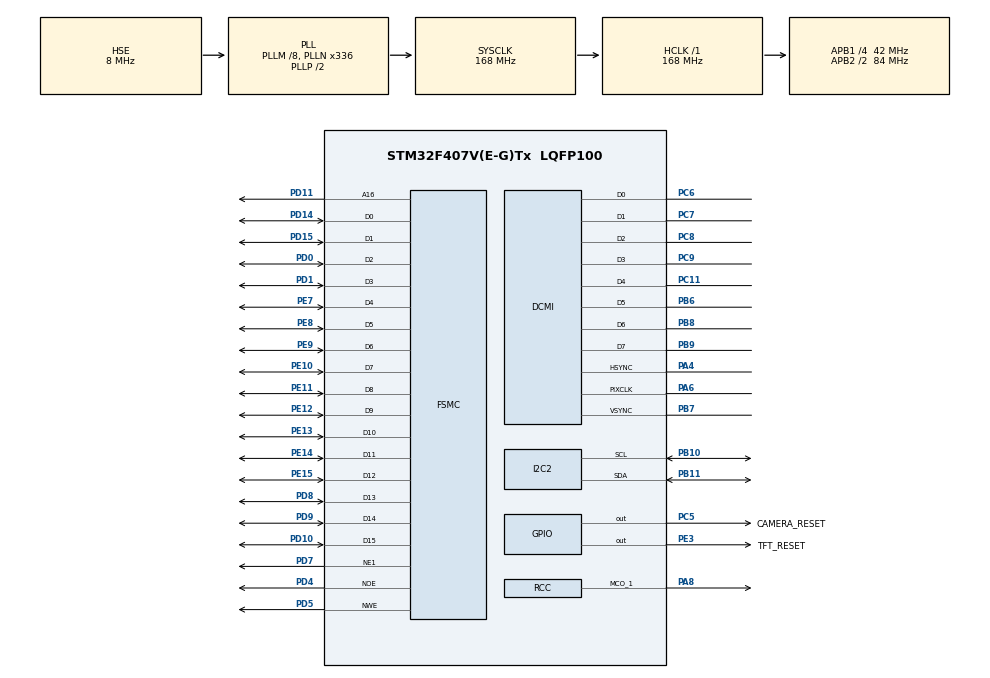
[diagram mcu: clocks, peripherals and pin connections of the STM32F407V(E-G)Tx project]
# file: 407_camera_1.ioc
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DCMI.PCKPolarity=DCMI_PCKPOLARITY_RISING
DCMI.VSPolarity=DCMI_VSPOLARITY_HIGH
Dma.DCMI.0.Direction=DMA_PERIPH_TO_MEMORY
Dma.DCMI.0.FIFOMode=DMA_FIFOMODE_DISABLE
Dma.DCMI.0.Instance=DMA2_Stream1
Dma.DCMI.0.MemDataAlignment=DMA_MDATAALIGN_WORD
Dma.DCMI.0.MemInc=DMA_MINC_DISABLE
Dma.DCMI.0.Mode=DMA_NORMAL
Dma.DCMI.0.PeriphDataAlignment=DMA_PDATAALIGN_WORD
Dma.DCMI.0.PeriphInc=DMA_PINC_DISABLE
Dma.DCMI.0.Priority=DMA_PRIORITY_LOW
Dma.Request0=DCMI
FSMC.AddressSetupTime1=4
FSMC.BusTurnAroundDuration1=1
FSMC.DataSetupTime1=8
Mcu.Family=STM32F4
Mcu.Name=STM32F407V(E-G)Tx
Mcu.Package=LQFP100
NVIC.DCMI_IRQn=true\:0\:0\:false\:false\:true\:true\:true\:true
NVIC.DMA2_Stream1_IRQn=true\:0\:0\:false\:false\:true\:false\:true\:true
NVIC.PriorityGroup=NVIC_PRIORITYGROUP_0
PA4.GPIO_PuPd=GPIO_PULLDOWN
PA4.GPIO_Speed=GPIO_SPEED_FREQ_VERY_HIGH
PA4.Mode=Slave_8_bits_External_Synchro
PA4.Signal=DCMI_HSYNC
PA6.GPIO_PuPd=GPIO_PULLDOWN
PA6.GPIO_Speed=GPIO_SPEED_FREQ_VERY_HIGH
PA6.Mode=Slave_8_bits_External_Synchro
PA6.Signal=DCMI_PIXCLK
PA8.GPIO_Speed=GPIO_SPEED_FREQ_VERY_HIGH
PA8.Mode=Clock-out-1
PA8.Signal=RCC_MCO_1
PB10.GPIO_Pu=GPIO_PULLUP
PB10.Mode=I2C
PB10.Signal=I2C2_SCL
PB11.GPIO_Pu=GPIO_PULLUP
PB11.Mode=I2C
PB11.Signal=I2C2_SDA
PB6.GPIO_PuPd=GPIO_PULLDOWN
PB6.GPIO_Speed=GPIO_SPEED_FREQ_VERY_HIGH
PB6.Mode=Slave_8_bits_External_Synchro
PB6.Signal=DCMI_D5
PB7.GPIO_PuPd=GPIO_PULLDOWN
PB7.GPIO_Speed=GPIO_SPEED_FREQ_VERY_HIGH
PB7.Mode=Slave_8_bits_External_Synchro
PB7.Signal=DCMI_VSYNC
PB8.GPIO_PuPd=GPIO_PULLDOWN
PB8.GPIO_Speed=GPIO_SPEED_FREQ_VERY_HIGH
PB8.Mode=Slave_8_bits_External_Synchro
PB8.Signal=DCMI_D6
PB9.GPIO_PuPd=GPIO_PULLDOWN
PB9.GPIO_Speed=GPIO_SPEED_FREQ_VERY_HIGH
PB9.Mode=Slave_8_bits_External_Synchro
PB9.Signal=DCMI_D7
PC11.GPIO_PuPd=GPIO_PULLDOWN
PC11.GPIO_Speed=GPIO_SPEED_FREQ_VERY_HIGH
PC11.Mode=Slave_8_bits_External_Synchro
PC11.Signal=DCMI_D4
PC5.GPIO_Label=CAMERA_RESET
PC5.GPIO_PuPd=GPIO_PULLUP
PC5.Signal=GPIO_Output
PC6.GPIO_PuPd=GPIO_PULLDOWN
PC6.GPIO_Speed=GPIO_SPEED_FREQ_VERY_HIGH
PC6.Mode=Slave_8_bits_External_Synchro
PC6.Signal=DCMI_D0
PC7.GPIO_PuPd=GPIO_PULLDOWN
PC7.GPIO_Speed=GPIO_SPEED_FREQ_VERY_HIGH
PC7.Mode=Slave_8_bits_External_Synchro
PC7.Signal=DCMI_D1
PC8.GPIO_PuPd=GPIO_PULLDOWN
PC8.GPIO_Speed=GPIO_SPEED_FREQ_VERY_HIGH
PC8.Mode=Slave_8_bits_External_Synchro
PC8.Signal=DCMI_D2
PC9.GPIO_PuPd=GPIO_PULLDOWN
PC9.GPIO_Speed=GPIO_SPEED_FREQ_VERY_HIGH
PC9.Mode=Slave_8_bits_External_Synchro
PC9.Signal=DCMI_D3
PD0.Mode=16b-d1
PD0.Signal=FSMC_D2
PD1.Mode=16b-d1
PD1.Signal=FSMC_D3
PD10.Mode=16b-d1
PD10.Signal=FSMC_D15
PD11.Mode=A16_1
PD11.Signal=FSMC_A16
PD14.Mode=16b-d1
PD14.Signal=FSMC_D0
PD15.Mode=16b-d1
PD15.Signal=FSMC_D1
PD4.Mode=Lcd1
PD4.Signal=FSMC_NOE
PD5.Mode=Lcd1
PD5.Signal=FSMC_NWE
PD7.Mode=NorPsramChipSelect1_1
PD7.Signal=FSMC_NE1
PD8.Mode=16b-d1
PD8.Signal=FSMC_D13
PD9.Mode=16b-d1
PD9.Signal=FSMC_D14
PE10.Mode=16b-d1
PE10.Signal=FSMC_D7
PE11.Mode=16b-d1
PE11.Signal=FSMC_D8
PE12.Mode=16b-d1
PE12.Signal=FSMC_D9
PE13.Mode=16b-d1
PE13.Signal=FSMC_D10
PE14.Mode=16b-d1
PE14.Signal=FSMC_D11
PE15.Mode=16b-d1
PE15.Signal=FSMC_D12
PE3.GPIO_Label=TFT_RESET
PE3.PinState=GPIO_PIN_SET
PE3.Signal=GPIO_Output
PE7.Mode=16b-d1
PE7.Signal=FSMC_D4
PE8.Mode=16b-d1
PE8.Signal=FSMC_D5
PE9.Mode=16b-d1
PE9.Signal=FSMC_D6
PH0-OSC_IN.Mode=HSE-External-Oscillator
PH0-OSC_IN.Signal=RCC_OSC_IN
PH1-OSC_OUT.Mode=HSE-External-Oscillator
PH1-OSC_OUT.Signal=RCC_OSC_OUT
ProjectManager.HeapSize=0x200
ProjectManager.StackSize=0x400
ProjectManager.TargetToolchain=STM32CubeIDE
RCC.48MHZClocksFreq_Value=48000000
RCC.AHBFreq_Value=168000000
RCC.APB1CLKDivider=RCC_HCLK_DIV4
RCC.APB1Freq_Value=42000000
RCC.APB1TimFreq_Value=84000000
RCC.APB2CLKDivider=RCC_HCLK_DIV2
RCC.APB2Freq_Value=84000000
RCC.APB2TimFreq_Value=168000000
RCC.CortexFreq_Value=168000000
RCC.HCLKFreq_Value=168000000
RCC.HSE_VALUE=8000000
RCC.HSI_VALUE=16000000
RCC.LSE_VALUE=32768
RCC.PLLM=8
RCC.PLLN=336
RCC.PLLQ=7
RCC.PLLSourceVirtual=RCC_PLLSOURCE_HSE
RCC.RCC_MCO1Source=RCC_MCO1SOURCE_PLLCLK
RCC.RCC_MCODiv1=RCC_MCODIV_4
RCC.SYSCLKFreq_VALUE=168000000
RCC.SYSCLKSource=RCC_SYSCLKSOURCE_PLLCLK
RCC.VCOOutputFreq_Value=336000000
board=STM32F407G-DISC1

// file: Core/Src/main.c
/* USER CODE BEGIN Header */
/**
  ******************************************************************************
  * @file           : main.c
  * @brief          : Main program body
  ******************************************************************************
  * @attention
  *
  * Copyright (c) 2022 STMicroelectronics.
  * All rights reserved.
  *
  * This software is licensed under terms that can be found in the LICENSE file
  * in the root directory of this software component.
  * If no LICENSE file comes with this software, it is provided AS-IS.
  *
  ******************************************************************************
  */
/* USER CODE END Header */
#include "main.h"

/* USER CODE BEGIN Includes */
#include "common.h"
//#include "ssd1289.h"
#include "ILI9341_STM32_Driver.h"
#include "ov7670.h"
/* USER CODE END Includes */

DCMI_HandleTypeDef hdcmi;
DMA_HandleTypeDef hdma_dcmi;

I2C_HandleTypeDef hi2c2;

SRAM_HandleTypeDef hsram1;

void SystemClock_Config(void);
static void MX_GPIO_Init(void);
static void MX_DMA_Init(void);
static void MX_DCMI_Init(void);
static void MX_FSMC_Init(void);
static void MX_I2C2_Init(void);

int main(void)
{

  /* MCU Configuration--------------------------------------------------------*/

  /* Reset of all peripherals, Initializes the Flash interface and the Systick. */
  HAL_Init();

  /* Configure the system clock */
  SystemClock_Config();

  /* Initialize all configured peripherals */
  MX_GPIO_Init();
  MX_DMA_Init();
  MX_DCMI_Init();
  MX_FSMC_Init();
  MX_I2C2_Init();
  /* USER CODE BEGIN 2 */
  ILI9341_Init();
  //Init_SSD1289();
#if (TEST_TFT_LCD == 0)
  uint16_t* p_lcdData;
  p_lcdData = ILI9341_Get_Draw_Address();
  ov7670_init(&hdcmi, &hdcmi, &hi2c2);
  ov7670_config(OV7670_MODE_QVGA_RGB565);
  ov7670_startCap(OV7670_CAP_CONTINUOUS, p_lcdData);
#endif
  /* USER CODE END 2 */

  /* Infinite loop */
  /* USER CODE BEGIN WHILE */
#if (TEST_TFT_LCD == 1)
  uint32_t i = 0;
  extern uint32_t lcd_colors[19];
#endif

  while (1)
  {
#if (TEST_TFT_LCD == 1)
	  ILI9341_Lcd_Clear(lcd_colors[i]);
	  i = (i + 1) % 19;
	  HAL_Delay(1000);
#endif
    /* USER CODE END WHILE */

  }
}

void SystemClock_Config(void)
{
  RCC_OscInitTypeDef RCC_OscInitStruct = {0};
  RCC_ClkInitTypeDef RCC_ClkInitStruct = {0};

  /** Configure the main internal regulator output voltage
  */
  __HAL_RCC_PWR_CLK_ENABLE();
  __HAL_PWR_VOLTAGESCALING_CONFIG(PWR_REGULATOR_VOLTAGE_SCALE1);

  /** Initializes the RCC Oscillators according to the specified parameters
  * in the RCC_OscInitTypeDef structure.
  */
  RCC_OscInitStruct.OscillatorType = RCC_OSCILLATORTYPE_HSE;
  RCC_OscInitStruct.HSEState = RCC_HSE_ON;
  RCC_OscInitStruct.PLL.PLLState = RCC_PLL_ON;
  RCC_OscInitStruct.PLL.PLLSource = RCC_PLLSOURCE_HSE;
  RCC_OscInitStruct.PLL.PLLM = 8;
  RCC_OscInitStruct.PLL.PLLN = 336;
  RCC_OscInitStruct.PLL.PLLP = RCC_PLLP_DIV2;
  RCC_OscInitStruct.PLL.PLLQ = 7;
  if (HAL_RCC_OscConfig(&RCC_OscInitStruct) != HAL_OK)
  {
    Error_Handler();
  }

  /** Initializes the CPU, AHB and APB buses clocks
  */
  RCC_ClkInitStruct.ClockType = RCC_CLOCKTYPE_HCLK|RCC_CLOCKTYPE_SYSCLK
                              |RCC_CLOCKTYPE_PCLK1|RCC_CLOCKTYPE_PCLK2;
  RCC_ClkInitStruct.SYSCLKSource = RCC_SYSCLKSOURCE_PLLCLK;
  RCC_ClkInitStruct.AHBCLKDivider = RCC_SYSCLK_DIV1;
  RCC_ClkInitStruct.APB1CLKDivider = RCC_HCLK_DIV4;
  RCC_ClkInitStruct.APB2CLKDivider = RCC_HCLK_DIV2;

  if (HAL_RCC_ClockConfig(&RCC_ClkInitStruct, FLASH_LATENCY_5) != HAL_OK)
  {
    Error_Handler();
  }
  HAL_RCC_MCOConfig(RCC_MCO1, RCC_MCO1SOURCE_PLLCLK, RCC_MCODIV_4);
}

static void MX_DCMI_Init(void)
{

  hdcmi.Instance = DCMI;
  hdcmi.Init.SynchroMode = DCMI_SYNCHRO_HARDWARE;
  hdcmi.Init.PCKPolarity = DCMI_PCKPOLARITY_RISING;
  hdcmi.Init.VSPolarity = DCMI_VSPOLARITY_HIGH;
  hdcmi.Init.HSPolarity = DCMI_HSPOLARITY_LOW;
  hdcmi.Init.CaptureRate = DCMI_CR_ALL_FRAME;
  hdcmi.Init.ExtendedDataMode = DCMI_EXTEND_DATA_8B;
  hdcmi.Init.JPEGMode = DCMI_JPEG_DISABLE;
  if (HAL_DCMI_Init(&hdcmi) != HAL_OK)
  {
    Error_Handler();
  }

}

static void MX_I2C2_Init(void)
{

  hi2c2.Instance = I2C2;
  hi2c2.Init.ClockSpeed = 100000;
  hi2c2.Init.DutyCycle = I2C_DUTYCYCLE_2;
  hi2c2.Init.OwnAddress1 = 0;
  hi2c2.Init.AddressingMode = I2C_ADDRESSINGMODE_7BIT;
  hi2c2.Init.DualAddressMode = I2C_DUALADDRESS_DISABLE;
  hi2c2.Init.OwnAddress2 = 0;
  hi2c2.Init.GeneralCallMode = I2C_GENERALCALL_DISABLE;
  hi2c2.Init.NoStretchMode = I2C_NOSTRETCH_DISABLE;
  if (HAL_I2C_Init(&hi2c2) != HAL_OK)
  {
    Error_Handler();
  }

}

static void MX_DMA_Init(void)
{

  /* DMA controller clock enable */
  __HAL_RCC_DMA2_CLK_ENABLE();

  /* DMA interrupt init */
  /* DMA2_Stream1_IRQn interrupt configuration */
  HAL_NVIC_SetPriority(DMA2_Stream1_IRQn, 0, 0);
  HAL_NVIC_EnableIRQ(DMA2_Stream1_IRQn);

}

static void MX_GPIO_Init(void)
{
  GPIO_InitTypeDef GPIO_InitStruct = {0};

  /* GPIO Ports Clock Enable */
  __HAL_RCC_GPIOE_CLK_ENABLE();
  __HAL_RCC_GPIOH_CLK_ENABLE();
  __HAL_RCC_GPIOA_CLK_ENABLE();
  __HAL_RCC_GPIOC_CLK_ENABLE();
  __HAL_RCC_GPIOB_CLK_ENABLE();
  __HAL_RCC_GPIOD_CLK_ENABLE();

  /*Configure GPIO pin Output Level */
  HAL_GPIO_WritePin(TFT_RESET_GPIO_Port, TFT_RESET_Pin, GPIO_PIN_SET);

  /*Configure GPIO pin Output Level */
  HAL_GPIO_WritePin(CAMERA_RESET_GPIO_Port, CAMERA_RESET_Pin, GPIO_PIN_RESET);

  /*Configure GPIO pin : TFT_RESET_Pin */
  GPIO_InitStruct.Pin = TFT_RESET_Pin;
  GPIO_InitStruct.Mode = GPIO_MODE_OUTPUT_PP;
  GPIO_InitStruct.Pull = GPIO_NOPULL;
  GPIO_InitStruct.Speed = GPIO_SPEED_FREQ_LOW;
  HAL_GPIO_Init(TFT_RESET_GPIO_Port, &GPIO_InitStruct);

  /*Configure GPIO pin : CAMERA_RESET_Pin */
  GPIO_InitStruct.Pin = CAMERA_RESET_Pin;
  GPIO_InitStruct.Mode = GPIO_MODE_OUTPUT_PP;
  GPIO_InitStruct.Pull = GPIO_PULLUP;
  GPIO_InitStruct.Speed = GPIO_SPEED_FREQ_LOW;
  HAL_GPIO_Init(CAMERA_RESET_GPIO_Port, &GPIO_InitStruct);

  /*Configure GPIO pin : PA8 */
  GPIO_InitStruct.Pin = GPIO_PIN_8;
  GPIO_InitStruct.Mode = GPIO_MODE_AF_PP;
  GPIO_InitStruct.Pull = GPIO_NOPULL;
  GPIO_InitStruct.Speed = GPIO_SPEED_FREQ_VERY_HIGH;
  GPIO_InitStruct.Alternate = GPIO_AF0_MCO;
  HAL_GPIO_Init(GPIOA, &GPIO_InitStruct);

}

/* FSMC initialization function */
static void MX_FSMC_Init(void)
{

  FSMC_NORSRAM_TimingTypeDef Timing = {0};

  /** Perform the SRAM1 memory initialization sequence
  */
  hsram1.Instance = FSMC_NORSRAM_DEVICE;
  hsram1.Extended = FSMC_NORSRAM_EXTENDED_DEVICE;
  /* hsram1.Init */
  hsram1.Init.NSBank = FSMC_NORSRAM_BANK1;
  hsram1.Init.DataAddressMux = FSMC_DATA_ADDRESS_MUX_DISABLE;
  hsram1.Init.MemoryType = FSMC_MEMORY_TYPE_SRAM;
  hsram1.Init.MemoryDataWidth = FSMC_NORSRAM_MEM_BUS_WIDTH_16;
  hsram1.Init.BurstAccessMode = FSMC_BURST_ACCESS_MODE_DISABLE;
  hsram1.Init.WaitSignalPolarity = FSMC_WAIT_SIGNAL_POLARITY_LOW;
  hsram1.Init.WrapMode = FSMC_WRAP_MODE_DISABLE;
  hsram1.Init.WaitSignalActive = FSMC_WAIT_TIMING_BEFORE_WS;
  hsram1.Init.WriteOperation = FSMC_WRITE_OPERATION_ENABLE;
  hsram1.Init.WaitSignal = FSMC_WAIT_SIGNAL_DISABLE;
  hsram1.Init.ExtendedMode = FSMC_EXTENDED_MODE_DISABLE;
  hsram1.Init.AsynchronousWait = FSMC_ASYNCHRONOUS_WAIT_DISABLE;
  hsram1.Init.WriteBurst = FSMC_WRITE_BURST_DISABLE;
  hsram1.Init.PageSize = FSMC_PAGE_SIZE_NONE;
  /* Timing */
  Timing.AddressSetupTime = 4;
  Timing.AddressHoldTime = 15;
  Timing.DataSetupTime = 8;
  Timing.BusTurnAroundDuration = 1;
  Timing.CLKDivision = 16;
  Timing.DataLatency = 17;
  Timing.AccessMode = FSMC_ACCESS_MODE_A;
  /* ExtTiming */

  if (HAL_SRAM_Init(&hsram1, &Timing, NULL) != HAL_OK)
  {
    Error_Handler( );
  }

}

void Error_Handler(void)
{
  __disable_irq();
  while (1)
  {
  }
}
